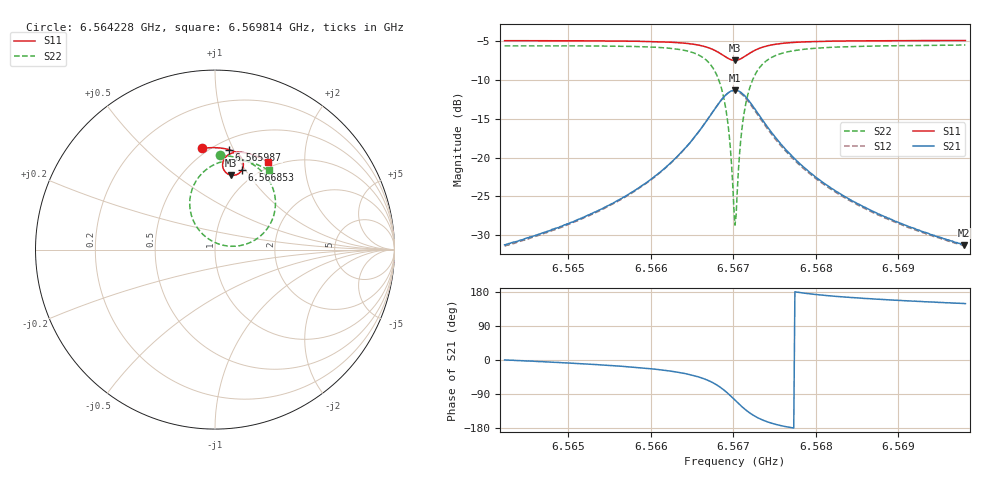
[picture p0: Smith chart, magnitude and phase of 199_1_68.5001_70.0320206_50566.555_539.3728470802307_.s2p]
#  HZ  S  RI  R  50.00
! Rohde & Schwarz Vector Network Analyzer
! Rohde-Schwarz,ZNB20-2Port,1311601062101988,3.16
! Created: UTC 3/20/2024, 4:57:32 PM
! freq[Hz]  re:S11  im:S11  re:S21  im:S21  re:S12  im:S12  re:S22  im:S22
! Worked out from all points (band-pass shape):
!   401 points, 6.564228 GHz to 6.569814 GHz, reference 50 ohm
!   highest |S21| = -11.29 dB at 6.567021 GHz (marker M1); lowest = -31.3 dB at 6.5698 GHz (marker M2)
!   |S21| within 3 dB of the highest: 6.56674 GHz to 6.567299 GHz (559.1 kHz wide, 0.00851 % of centre)
!   lowest |S11| = -7.4 dB at 6.567021 GHz (marker M3), VSWR 2.47, Z = 40.8 + j41.3 ohm
!   |S11| at or under -10 dB: nowhere
!   |S22| runs from -28.7 to -5.5 dB; largest |S21 - S12| = 0.013
!   S11 on the Smith chart (normalised r, x): 6.564228 GHz: 0.46, +0.77; 6.565987 GHz: 0.59, +0.96; 6.566853 GHz: 0.85, +0.96; 6.569814 GHz: 0.92, +1.33
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6.5642278e9  -0.0723 0.5645  0.0274 5.88e-05  0.0268 -0.000366  0.0275 0.5259
6.5651635e9  0.00376 0.5681  0.0401 -0.00684  0.0394 -0.00752  0.1149 0.5139
6.5659875e9  0.0795 0.5567  0.0658 -0.0277  0.0648 -0.0285  0.2185 0.4701
6.5660992e9  0.091 0.5527  0.0717 -0.0342  0.0707 -0.035  0.2367 0.457
6.5664065e9  0.1258 0.5341  0.0925 -0.0657  0.0909 -0.0672  0.2957 0.3946
6.5666299e9  0.1513 0.5033  0.1059 -0.119  0.1035 -0.1214  0.3347 0.2917
6.5667556e9  0.1582 0.4728  0.0984 -0.1725  0.0941 -0.1756  0.327 0.1896
6.5668534e9  0.1496 0.4421  0.0659 -0.2251  0.0586 -0.228  0.2693 0.0911
6.5668953e9  0.1392 0.4295  0.04 -0.2461  0.031 -0.2477  0.2219 0.0532
6.5669372e9  0.1247 0.4194  0.0064 -0.2615  -0.00414 -0.2614  0.1603 0.0269
6.567007e9  0.0934 0.4142  -0.0611 -0.2655  -0.0724 -0.2606  0.04 0.0254
6.567021e9  0.087 0.4152  -0.0748 -0.2622  -0.0858 -0.2563  0.0161 0.0329
6.5670489e9  0.0747 0.4197  -0.1007 -0.2517  -0.1108 -0.244  -0.0283 0.0543
6.5670908e9  0.0592 0.4308  -0.1337 -0.2279  -0.1415 -0.2181  -0.0822 0.1006
6.5671327e9  0.0486 0.4455  -0.1571 -0.198  -0.1623 -0.1872  -0.1184 0.156
6.5671885e9  0.0426 0.4666  -0.1734 -0.1562  -0.1752 -0.1456  -0.1394 0.2309
6.5672584e9  0.045 0.4901  -0.1755 -0.1104  -0.1748 -0.1014  -0.1348 0.3107
6.5675098e9  0.0834 0.533  -0.133 -0.0246  -0.1301 -0.0207  -0.0378 0.4539
6.5679567e9  0.1438 0.5427  -0.0777 0.00827  -0.0759 0.00939  0.0902 0.4987
6.5688924e9  0.2294 0.5211  -0.0377 0.0147  -0.0368 0.015  0.2198 0.4797
6.5698001e9  0.296 0.4884  -0.0234 0.0141  -0.0229 0.0142  0.2976 0.4427
6.5698141e9  0.297 0.4876  -0.0234 0.0141  -0.0228 0.0141  0.2989 0.4421
